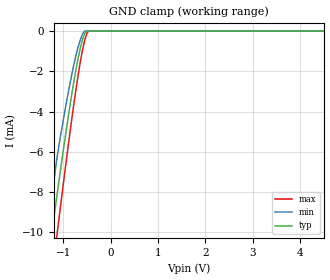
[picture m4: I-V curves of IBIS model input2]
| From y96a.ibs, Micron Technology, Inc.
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|   input2 MODEL
[Model]   input2
Model_type   Input
| Used for WE and A12. Contains no Power Clamp structures.
Vinl = 800.000mV
Vinh = 2.000V
|   typ   min   max
C_comp   1.920pF   1.660pF   2.180pF
[Voltage Range]   3.300V   3.000V   3.600V
[Temperature Range]   25.0   85.0   0.0
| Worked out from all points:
|   GND clamp passes 1 mA (typ) near -0.66 V on its own axis
[GND Clamp]
|   Voltage   I(typ)   I(min)   I(max)
-3.3V     -378.7mA   -377.6mA   -377.5mA
-1.29V    -11.21mA   -11.14mA   -13.21mA
-1.25V    -10.27mA   -9.034mA   -12.41mA
-1.24V    -10.05mA   -8.632mA   NA
-1.19V    -9.135mA   -7.293mA   -11.23mA
-1.14V    -8.271mA   -6.415mA   NA
-1.09V    -7.418mA   -5.666mA   NA
-800mV    -2.839mA   NA         -4.014mA
-650mV    -939.7uA   -493.7uA   -1.66mA
-550mV    -125.5uA   0A         -475.8uA
-500mV    0A         NA         -104.2uA
6.6V      0A         0A         0A
